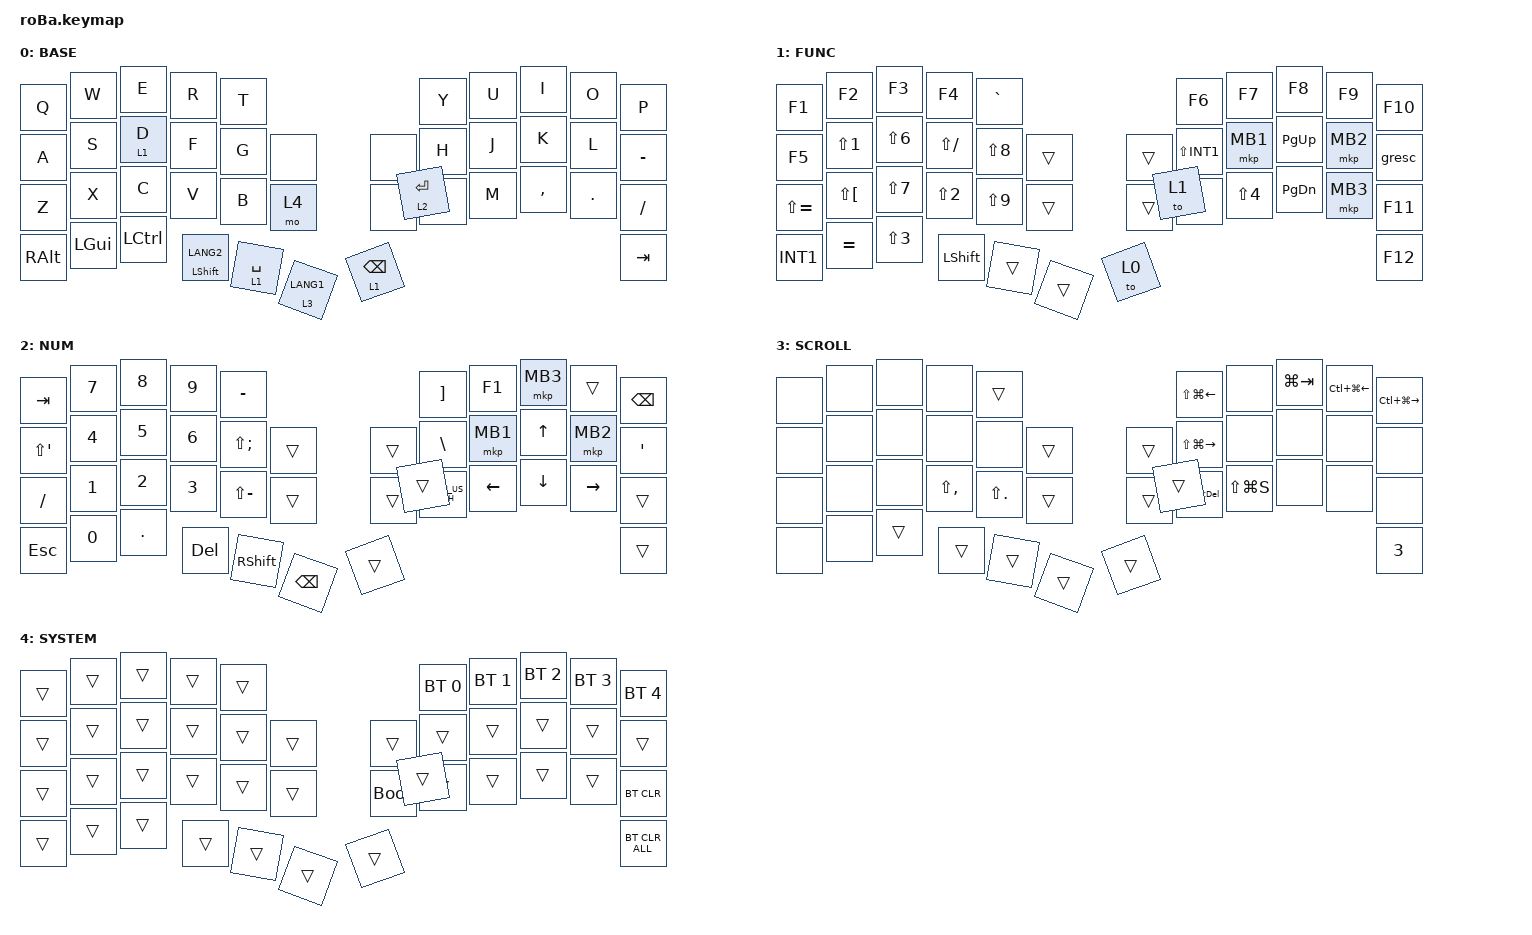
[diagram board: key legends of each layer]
#include <behaviors.dtsi>
#include <dt-bindings/zmk/bt.h>
#include <dt-bindings/zmk/keys.h>
#include <dt-bindings/zmk/pointing.h>

// Keyball39 (Remap) の配置を移植したキーマップ
// レイヤー: 0 BASE / 1 FUNC / 2 NUM / 3 SCROLL（かな長押し中はボールでスクロール） / 4 SYSTEM（Bluetooth）
// roBa にしかない内側4キーのうち、左下段の内側を SYSTEM レイヤー呼び出しにしている

&mt {
    flavor = "balanced";
    quick-tap-ms = <0>;
};

// Keyball（QMK）と同じく、1回タップしてすぐ長押しすると、レイヤーではなくそのキーの連打になる
&lt {
    quick-tap-ms = <200>;
};

&trackball {
    automouse-layer = <0>;
    scroll-layers = <3>;
};

/ {
    keymap {
        compatible = "zmk,keymap";

        BASE {
            bindings = <
&kp Q     &kp W     &kp E      &kp R                &kp T                                                  &kp Y        &kp U        &kp I      &kp O    &kp P
&kp A     &kp S     &lt 1 D    &kp F                &kp G        &none               &none                 &kp H        &kp J        &kp K      &kp L    &kp MINUS
&kp Z     &kp X     &kp C      &kp V                &kp B        &mo 4               &none                 &kp N        &kp M        &kp COMMA  &kp DOT  &kp FSLH
&kp RALT  &kp LGUI  &kp LCTRL  &mt LSHIFT LANG2     &lt 1 SPACE  &lt 3 LANG1         &lt 1 BSPC            &lt 2 ENTER                                     &kp TAB
            >;
        };

        FUNC {
            bindings = <
&kp F1         &kp F2          &kp F3      &kp F4         &kp GRAVE                                     &kp F6         &kp F7     &kp F8     &kp F9    &kp F10
&kp F5         &kp LS(N1)      &kp LS(N6)  &kp LS(FSLH)   &kp LS(N8)  &trans          &trans            &kp LS(INT1)   &mkp MB1   &kp PG_UP  &mkp MB2  &gresc
&kp LS(EQUAL)  &kp LS(LBKT)    &kp LS(N7)  &kp LS(N2)     &kp LS(N9)  &trans          &trans            &kp LBKT       &kp LS(N4) &kp PG_DN  &mkp MB3  &kp F11
&kp INT1       &kp EQUAL       &kp LS(N3)  &kp LSHIFT     &trans      &trans          &to 0             &to 1                                           &kp F12
            >;
        };

        NUM {
            bindings = <
&kp TAB        &kp N7   &kp N8   &kp N9   &kp MINUS                                          &kp RBKT             &kp F1     &mkp MB3   &trans     &kp BSPC
&kp LS(SQT)    &kp N4   &kp N5   &kp N6   &kp LS(SEMI)    &trans          &trans             &kp BSLH             &mkp MB1   &kp UP     &mkp MB2   &kp SQT
&kp FSLH       &kp N1   &kp N2   &kp N3   &kp LS(MINUS)   &trans          &trans             &kp LS(NON_US_HASH)  &kp LEFT   &kp DOWN   &kp RIGHT  &trans
&kp ESC        &kp N0   &kp DOT  &kp DEL  &kp RSHIFT      &kp BSPC        &trans             &trans                                                &trans
            >;
        };

        SCROLL {
            bindings = <
&none  &none  &none  &none         &trans                                   &kp LS(LG(LEFT))   &none           &kp LG(TAB)  &kp LC(LG(LEFT))  &kp LC(LG(RIGHT))
&none  &none  &none  &none         &none        &trans        &trans        &kp LS(LG(RIGHT))  &none           &none        &none             &none
&none  &none  &none  &kp LS(COMMA) &kp LS(DOT)  &trans        &trans        &kp LC(LA(DEL))    &kp LS(LG(S))   &none        &none             &none
&none  &none  &trans &trans        &trans       &trans        &trans        &trans                                                             &kp N3
            >;
        };

        SYSTEM {
            bindings = <
&trans  &trans  &trans  &trans  &trans                             &bt BT_SEL 0  &bt BT_SEL 1  &bt BT_SEL 2  &bt BT_SEL 3  &bt BT_SEL 4
&trans  &trans  &trans  &trans  &trans  &trans      &trans         &trans        &trans        &trans        &trans        &trans
&trans  &trans  &trans  &trans  &trans  &trans      &bootloader    &trans        &trans        &trans        &trans        &bt BT_CLR
&trans  &trans  &trans  &trans  &trans  &trans      &trans         &trans                                                  &bt BT_CLR_ALL
            >;
        };
    };
};
